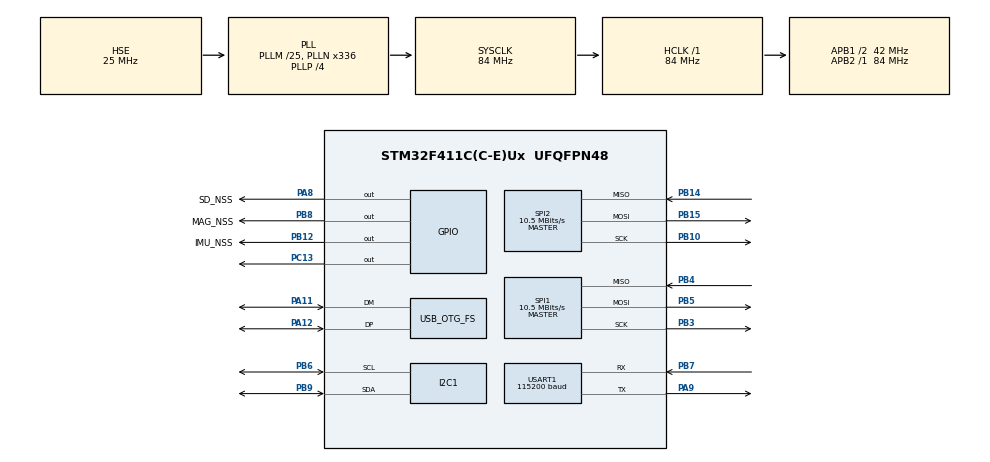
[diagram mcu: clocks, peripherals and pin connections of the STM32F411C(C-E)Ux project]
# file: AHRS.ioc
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Mcu.Family=STM32F4
Mcu.Name=STM32F411C(C-E)Ux
Mcu.Package=UFQFPN48
NVIC.OTG_FS_IRQn=true\:0\:0\:false\:false\:true\:false\:true\:true
NVIC.PVD_IRQn=true\:4\:0\:true\:false\:true\:true\:true\:true
NVIC.PriorityGroup=NVIC_PRIORITYGROUP_4
NVIC.TIM1_TRG_COM_TIM11_IRQn=true\:2\:0\:true\:false\:true\:true\:true\:true
NVIC.TIM1_UP_TIM10_IRQn=true\:3\:0\:true\:false\:true\:true\:true\:true
NVIC.USART1_IRQn=true\:0\:0\:false\:false\:true\:true\:true\:true
PA11.Mode=Device_Only
PA11.Signal=USB_OTG_FS_DM
PA12.Mode=Device_Only
PA12.Signal=USB_OTG_FS_DP
PA13.Mode=Serial_Wire
PA13.Signal=SYS_JTMS-SWDIO
PA14.Mode=Serial_Wire
PA14.Signal=SYS_JTCK-SWCLK
PA8.GPIO_Label=SD_NSS
PA8.Signal=GPIO_Output
PA9.Mode=Asynchronous
PA9.Signal=USART1_TX
PB10.Mode=Full_Duplex_Master
PB10.Signal=SPI2_SCK
PB12.GPIO_Label=IMU_NSS
PB12.Signal=GPIO_Output
PB14.Mode=Full_Duplex_Master
PB14.Signal=SPI2_MISO
PB15.Mode=Full_Duplex_Master
PB15.Signal=SPI2_MOSI
PB3.Mode=Full_Duplex_Master
PB3.Signal=SPI1_SCK
PB4.Mode=Full_Duplex_Master
PB4.Signal=SPI1_MISO
PB5.Mode=Full_Duplex_Master
PB5.Signal=SPI1_MOSI
PB6.Mode=I2C
PB6.Signal=I2C1_SCL
PB7.Mode=Asynchronous
PB7.Signal=USART1_RX
PB8.GPIO_Label=MAG_NSS
PB8.GPIO_PuPd=GPIO_PULLUP
PB8.Signal=GPIO_Output
PB9.Mode=I2C
PB9.Signal=I2C1_SDA
PC13-ANTI_TAMP.Signal=GPIO_Output
PC14-OSC32_IN.Mode=LSE-External-Oscillator
PC14-OSC32_IN.Signal=RCC_OSC32_IN
PC15-OSC32_OUT.Mode=LSE-External-Oscillator
PC15-OSC32_OUT.Signal=RCC_OSC32_OUT
PH0\ -\ OSC_IN.Mode=HSE-External-Oscillator
PH0\ -\ OSC_IN.Signal=RCC_OSC_IN
PH1\ -\ OSC_OUT.Mode=HSE-External-Oscillator
PH1\ -\ OSC_OUT.Signal=RCC_OSC_OUT
ProjectManager.HeapSize=0x200
ProjectManager.StackSize=0x400
ProjectManager.TargetToolchain=CMake
RCC.48MHZClocksFreq_Value=48000000
RCC.AHBFreq_Value=84000000
RCC.APB1CLKDivider=RCC_HCLK_DIV2
RCC.APB1Freq_Value=42000000
RCC.APB1TimFreq_Value=84000000
RCC.APB2Freq_Value=84000000
RCC.APB2TimFreq_Value=84000000
RCC.CortexFreq_Value=84000000
RCC.HCLKFreq_Value=84000000
RCC.HSE_VALUE=25000000
RCC.HSI_VALUE=16000000
RCC.PLLM=25
RCC.PLLN=336
RCC.PLLP=RCC_PLLP_DIV4
RCC.PLLQ=7
RCC.SYSCLKFreq_VALUE=84000000
RCC.SYSCLKSource=RCC_SYSCLKSOURCE_PLLCLK
RCC.VCOOutputFreq_Value=336000000
SPI1.BaudRatePrescaler=SPI_BAUDRATEPRESCALER_8
SPI1.CLKPhase=SPI_PHASE_1EDGE
SPI1.CLKPolarity=SPI_POLARITY_LOW
SPI1.CalculateBaudRate=10.5 MBits/s
SPI1.Direction=SPI_DIRECTION_2LINES
SPI1.Mode=SPI_MODE_MASTER
SPI1.VirtualType=VM_MASTER
SPI2.BaudRatePrescaler=SPI_BAUDRATEPRESCALER_4
SPI2.CalculateBaudRate=10.5 MBits/s
SPI2.Direction=SPI_DIRECTION_2LINES
SPI2.Mode=SPI_MODE_MASTER
SPI2.VirtualType=VM_MASTER
TIM10.Period=50-1
TIM10.Prescaler=8400-1
TIM11.Period=200 -1
TIM11.Prescaler=8400-1
USART1.BaudRate=115200
USART1.VirtualMode=VM_ASYNC
USB_DEVICE.CLASS_NAME_FS=CDC
USB_DEVICE.VirtualMode=Cdc
USB_DEVICE.VirtualModeFS=Cdc_FS
USB_OTG_FS.VirtualMode=Device_Only
VP_CRC_VS_CRC.Mode=CRC_Activate
VP_TIM10_VS_ClockSourceINT.Mode=Enable_Timer
VP_TIM11_VS_ClockSourceINT.Mode=Enable_Timer
VP_USB_DEVICE_VS_USB_DEVICE_CDC_FS.Mode=CDC_FS
board=custom

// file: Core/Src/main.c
/* USER CODE BEGIN Header */
/**
  ******************************************************************************
  * @file           : main.c
  * @brief          : Main program body
  ******************************************************************************
  * @attention
  *
  * Copyright (c) 2025 STMicroelectronics.
  * All rights reserved.
  *
  * This software is licensed under terms that can be found in the LICENSE file
  * in the root directory of this software component.
  * If no LICENSE file comes with this software, it is provided AS-IS.
  *
  ******************************************************************************
  */
/* USER CODE END Header */
#include "main.h"
#include "usb_device.h"

/* USER CODE BEGIN Includes */
#include "app.h"
#include "stm32f4xx_hal_gpio.h"
#include <stdbool.h>
#include <string.h>
/* USER CODE END Includes */

/* USER CODE BEGIN PD */
#define BOOT_TIME 10u

/* USER CODE END PD */

CRC_HandleTypeDef hcrc;

I2C_HandleTypeDef hi2c1;

SPI_HandleTypeDef hspi1;
SPI_HandleTypeDef hspi2;

TIM_HandleTypeDef htim10;
TIM_HandleTypeDef htim11;

UART_HandleTypeDef huart1;

void SystemClock_Config(void);
static void MX_GPIO_Init(void);
static void MX_SPI1_Init(void);
static void MX_TIM11_Init(void);
static void MX_TIM10_Init(void);
static void MX_SPI2_Init(void);
static void MX_CRC_Init(void);
static void MX_I2C1_Init(void);
static void MX_USART1_UART_Init(void);

int main(void)
{

  /* MCU Configuration--------------------------------------------------------*/

  /* Reset of all peripherals, Initializes the Flash interface and the Systick. */
  HAL_Init();

  /* Configure the system clock */
  SystemClock_Config();

  /* Initialize all configured peripherals */
  MX_GPIO_Init();
  MX_SPI1_Init();
  MX_TIM11_Init();
  MX_TIM10_Init();
  MX_SPI2_Init();
  MX_CRC_Init();
  MX_I2C1_Init();
  MX_USART1_UART_Init();
  MX_USB_DEVICE_Init();
  /* USER CODE BEGIN 2 */
  HAL_TIM_Base_Start_IT(&htim10);
  HAL_TIM_Base_Start_IT(&htim11);
  HAL_GPIO_WritePin(GPIOC, GPIO_PIN_13, GPIO_PIN_RESET);
  //Little delay for the code to settle down
  HAL_Delay(10);
  if(!app_init()) Error_Handler();
  /* USER CODE END 2 */

  /* Infinite loop */
  while (1)
  {

    /* USER CODE BEGIN 3 */
    if(!app_run()) Error_Handler();
  }
  /* USER CODE END 3 */
}

void SystemClock_Config(void)
{
  RCC_OscInitTypeDef RCC_OscInitStruct = {0};
  RCC_ClkInitTypeDef RCC_ClkInitStruct = {0};

  /** Configure the main internal regulator output voltage
  */
  __HAL_RCC_PWR_CLK_ENABLE();
  __HAL_PWR_VOLTAGESCALING_CONFIG(PWR_REGULATOR_VOLTAGE_SCALE1);

  /** Initializes the RCC Oscillators according to the specified parameters
  * in the RCC_OscInitTypeDef structure.
  */
  RCC_OscInitStruct.OscillatorType = RCC_OSCILLATORTYPE_HSE;
  RCC_OscInitStruct.HSEState = RCC_HSE_ON;
  RCC_OscInitStruct.PLL.PLLState = RCC_PLL_ON;
  RCC_OscInitStruct.PLL.PLLSource = RCC_PLLSOURCE_HSE;
  RCC_OscInitStruct.PLL.PLLM = 25;
  RCC_OscInitStruct.PLL.PLLN = 336;
  RCC_OscInitStruct.PLL.PLLP = RCC_PLLP_DIV4;
  RCC_OscInitStruct.PLL.PLLQ = 7;
  if (HAL_RCC_OscConfig(&RCC_OscInitStruct) != HAL_OK)
  {
    Error_Handler();
  }

  /** Initializes the CPU, AHB and APB buses clocks
  */
  RCC_ClkInitStruct.ClockType = RCC_CLOCKTYPE_HCLK|RCC_CLOCKTYPE_SYSCLK
                              |RCC_CLOCKTYPE_PCLK1|RCC_CLOCKTYPE_PCLK2;
  RCC_ClkInitStruct.SYSCLKSource = RCC_SYSCLKSOURCE_PLLCLK;
  RCC_ClkInitStruct.AHBCLKDivider = RCC_SYSCLK_DIV1;
  RCC_ClkInitStruct.APB1CLKDivider = RCC_HCLK_DIV2;
  RCC_ClkInitStruct.APB2CLKDivider = RCC_HCLK_DIV1;

  if (HAL_RCC_ClockConfig(&RCC_ClkInitStruct, FLASH_LATENCY_2) != HAL_OK)
  {
    Error_Handler();
  }
}

static void MX_CRC_Init(void)
{

  hcrc.Instance = CRC;
  if (HAL_CRC_Init(&hcrc) != HAL_OK)
  {
    Error_Handler();
  }

}

static void MX_I2C1_Init(void)
{

  hi2c1.Instance = I2C1;
  hi2c1.Init.ClockSpeed = 100000;
  hi2c1.Init.DutyCycle = I2C_DUTYCYCLE_2;
  hi2c1.Init.OwnAddress1 = 0;
  hi2c1.Init.AddressingMode = I2C_ADDRESSINGMODE_7BIT;
  hi2c1.Init.DualAddressMode = I2C_DUALADDRESS_DISABLE;
  hi2c1.Init.OwnAddress2 = 0;
  hi2c1.Init.GeneralCallMode = I2C_GENERALCALL_DISABLE;
  hi2c1.Init.NoStretchMode = I2C_NOSTRETCH_DISABLE;
  if (HAL_I2C_Init(&hi2c1) != HAL_OK)
  {
    Error_Handler();
  }

}

static void MX_SPI1_Init(void)
{

  /* SPI1 parameter configuration*/
  hspi1.Instance = SPI1;
  hspi1.Init.Mode = SPI_MODE_MASTER;
  hspi1.Init.Direction = SPI_DIRECTION_2LINES;
  hspi1.Init.DataSize = SPI_DATASIZE_8BIT;
  hspi1.Init.CLKPolarity = SPI_POLARITY_LOW;
  hspi1.Init.CLKPhase = SPI_PHASE_1EDGE;
  hspi1.Init.NSS = SPI_NSS_SOFT;
  hspi1.Init.BaudRatePrescaler = SPI_BAUDRATEPRESCALER_8;
  hspi1.Init.FirstBit = SPI_FIRSTBIT_MSB;
  hspi1.Init.TIMode = SPI_TIMODE_DISABLE;
  hspi1.Init.CRCCalculation = SPI_CRCCALCULATION_DISABLE;
  hspi1.Init.CRCPolynomial = 10;
  if (HAL_SPI_Init(&hspi1) != HAL_OK)
  {
    Error_Handler();
  }

}

static void MX_SPI2_Init(void)
{

  /* SPI2 parameter configuration*/
  hspi2.Instance = SPI2;
  hspi2.Init.Mode = SPI_MODE_MASTER;
  hspi2.Init.Direction = SPI_DIRECTION_2LINES;
  hspi2.Init.DataSize = SPI_DATASIZE_8BIT;
  hspi2.Init.CLKPolarity = SPI_POLARITY_LOW;
  hspi2.Init.CLKPhase = SPI_PHASE_1EDGE;
  hspi2.Init.NSS = SPI_NSS_SOFT;
  hspi2.Init.BaudRatePrescaler = SPI_BAUDRATEPRESCALER_4;
  hspi2.Init.FirstBit = SPI_FIRSTBIT_MSB;
  hspi2.Init.TIMode = SPI_TIMODE_DISABLE;
  hspi2.Init.CRCCalculation = SPI_CRCCALCULATION_DISABLE;
  hspi2.Init.CRCPolynomial = 10;
  if (HAL_SPI_Init(&hspi2) != HAL_OK)
  {
    Error_Handler();
  }

}

static void MX_TIM10_Init(void)
{

  htim10.Instance = TIM10;
  htim10.Init.Prescaler = 8400-1;
  htim10.Init.CounterMode = TIM_COUNTERMODE_UP;
  htim10.Init.Period = 50-1;
  htim10.Init.ClockDivision = TIM_CLOCKDIVISION_DIV1;
  htim10.Init.AutoReloadPreload = TIM_AUTORELOAD_PRELOAD_DISABLE;
  if (HAL_TIM_Base_Init(&htim10) != HAL_OK)
  {
    Error_Handler();
  }

}

static void MX_TIM11_Init(void)
{

  htim11.Instance = TIM11;
  htim11.Init.Prescaler = 8400-1;
  htim11.Init.CounterMode = TIM_COUNTERMODE_UP;
  htim11.Init.Period = 200 -1;
  htim11.Init.ClockDivision = TIM_CLOCKDIVISION_DIV1;
  htim11.Init.AutoReloadPreload = TIM_AUTORELOAD_PRELOAD_DISABLE;
  if (HAL_TIM_Base_Init(&htim11) != HAL_OK)
  {
    Error_Handler();
  }

}

static void MX_USART1_UART_Init(void)
{

  huart1.Instance = USART1;
  huart1.Init.BaudRate = 115200;
  huart1.Init.WordLength = UART_WORDLENGTH_8B;
  huart1.Init.StopBits = UART_STOPBITS_1;
  huart1.Init.Parity = UART_PARITY_NONE;
  huart1.Init.Mode = UART_MODE_TX_RX;
  huart1.Init.HwFlowCtl = UART_HWCONTROL_NONE;
  huart1.Init.OverSampling = UART_OVERSAMPLING_16;
  if (HAL_UART_Init(&huart1) != HAL_OK)
  {
    Error_Handler();
  }

}

static void MX_GPIO_Init(void)
{
  GPIO_InitTypeDef GPIO_InitStruct = {0};

  /* GPIO Ports Clock Enable */
  __HAL_RCC_GPIOC_CLK_ENABLE();
  __HAL_RCC_GPIOH_CLK_ENABLE();
  __HAL_RCC_GPIOB_CLK_ENABLE();
  __HAL_RCC_GPIOA_CLK_ENABLE();

  /*Configure GPIO pin Output Level */
  HAL_GPIO_WritePin(GPIOC, GPIO_PIN_13, GPIO_PIN_RESET);

  /*Configure GPIO pin Output Level */
  HAL_GPIO_WritePin(GPIOB, IMU_NSS_Pin|MAG_NSS_Pin, GPIO_PIN_RESET);

  /*Configure GPIO pin Output Level */
  HAL_GPIO_WritePin(SD_NSS_GPIO_Port, SD_NSS_Pin, GPIO_PIN_RESET);

  /*Configure GPIO pin : PC13 */
  GPIO_InitStruct.Pin = GPIO_PIN_13;
  GPIO_InitStruct.Mode = GPIO_MODE_OUTPUT_PP;
  GPIO_InitStruct.Pull = GPIO_NOPULL;
  GPIO_InitStruct.Speed = GPIO_SPEED_FREQ_LOW;
  HAL_GPIO_Init(GPIOC, &GPIO_InitStruct);

  /*Configure GPIO pin : IMU_NSS_Pin */
  GPIO_InitStruct.Pin = IMU_NSS_Pin;
  GPIO_InitStruct.Mode = GPIO_MODE_OUTPUT_PP;
  GPIO_InitStruct.Pull = GPIO_NOPULL;
  GPIO_InitStruct.Speed = GPIO_SPEED_FREQ_LOW;
  HAL_GPIO_Init(IMU_NSS_GPIO_Port, &GPIO_InitStruct);

  /*Configure GPIO pin : SD_NSS_Pin */
  GPIO_InitStruct.Pin = SD_NSS_Pin;
  GPIO_InitStruct.Mode = GPIO_MODE_OUTPUT_PP;
  GPIO_InitStruct.Pull = GPIO_NOPULL;
  GPIO_InitStruct.Speed = GPIO_SPEED_FREQ_LOW;
  HAL_GPIO_Init(SD_NSS_GPIO_Port, &GPIO_InitStruct);

  /*Configure GPIO pin : MAG_NSS_Pin */
  GPIO_InitStruct.Pin = MAG_NSS_Pin;
  GPIO_InitStruct.Mode = GPIO_MODE_OUTPUT_PP;
  GPIO_InitStruct.Pull = GPIO_PULLUP;
  GPIO_InitStruct.Speed = GPIO_SPEED_FREQ_LOW;
  HAL_GPIO_Init(MAG_NSS_GPIO_Port, &GPIO_InitStruct);

}

void Error_Handler(void)
{
  /* USER CODE BEGIN Error_Handler_Debug */
  /* User can add his own implementation to report the HAL error return state */
  __disable_irq();
  while (1)
  {
    HAL_GPIO_WritePin(GPIOC, GPIO_PIN_13, GPIO_PIN_SET);

    for(volatile int i = 0; i < 8000000; i++) {
    __NOP();
    }

    HAL_GPIO_WritePin(GPIOC, GPIO_PIN_13, GPIO_PIN_RESET);

    for(volatile int i = 0; i < 8000000; i++) {
    __NOP();
    }
  }
  /* USER CODE END Error_Handler_Debug */
}
